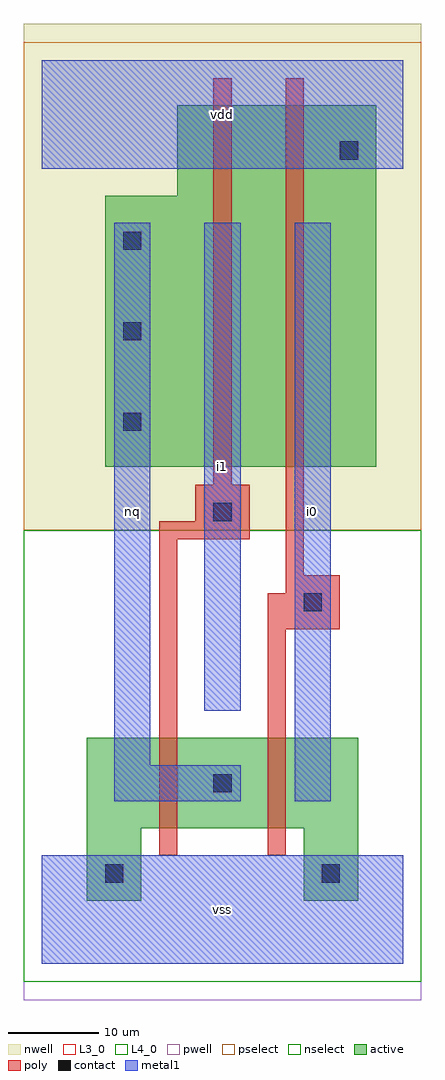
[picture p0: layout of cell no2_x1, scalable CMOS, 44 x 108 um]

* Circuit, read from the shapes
.subckt no2_x1 i0 i1 nq vdd vss
M1 nq i1 vss VSUBS nfet w=10u l=2u
M2 vss i0 nq VSUBS nfet w=10u l=2u
M3 n1 i1 nq n2 pfet w=40u l=2u
M4 vdd i0 n1 n2 pfet w=40u l=2u
.ends

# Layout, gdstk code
import gdstk
lib = gdstk.Library(unit=1e-6, precision=1e-09)
def R(c, l, rs):  # rectangles x0, y0, x1, y1
    for r in rs: c.add(gdstk.rectangle(r[:2], r[2:], *l))
def A(c, l, x, y, w, h, nx, ny, dx, dy):  # array of equal rectangles
    R(c, l, [(x+i*dx, y+j*dy, x+i*dx+w, y+j*dy+h) for i in range(nx) for j in range(ny)])
L3_0 = (3, 0)
L4_0 = (4, 0)
contact = (25, 0)
pwell = (41, 0)
nwell = (42, 0)
active = (43, 0)
pselect = (44, 0)
nselect = (45, 0)
poly = (46, 0)
metal1 = (49, 0)

no2_x1 = lib.new_cell('no2_x1')
R(no2_x1, L3_0, [(5,7,11,15), (29,7,35,15), (5,15,35,25)])
R(no2_x1, L4_0, [(7,55,37,85), (15,85,37,95)])
A(no2_x1, contact, 9, 59, 2, 2, 1, 3, 0, 10)
R(no2_x1, contact, [(7,9,9,11), (31,9,33,11), (19,19,21,21), (29,39,31,41), (19,49,21,51), (33,89,35,91)])
R(no2_x1, pwell, [(-2,-4,42,48)])
R(no2_x1, nwell, [(-2,48,42,104)])
R(no2_x1, active, [(5,7,11,15), (29,7,35,15), (5,15,35,25), (7,55,37,85), (15,85,37,95)])
R(no2_x1, pselect, [(-2,48,42,102)])
R(no2_x1, nselect, [(-2,-2,42,48)])
R(no2_x1, poly, [(13,12,15,47), (25,12,27,37), (25,37,33,41), (27,41,33,43), (27,43,29,98), (13,47,23,49), (17,49,23,53), (19,53,21,98)])
R(no2_x1, metal1, [(0,0,40,12), (8,18,22,22), (28,18,32,82), (8,22,12,82), (18,28,22,82), (0,88,40,100)])
no2_x1.add(gdstk.Label('nq', (10,50), layer=49, texttype=0))
no2_x1.add(gdstk.Label('vss', (20,6), layer=49, texttype=0))
no2_x1.add(gdstk.Label('i1', (20,55), layer=49, texttype=0))
no2_x1.add(gdstk.Label('vdd', (20,94), layer=49, texttype=0))
no2_x1.add(gdstk.Label('i0', (30,50), layer=49, texttype=0))

lib.write_gds('no2_x1.gds')
